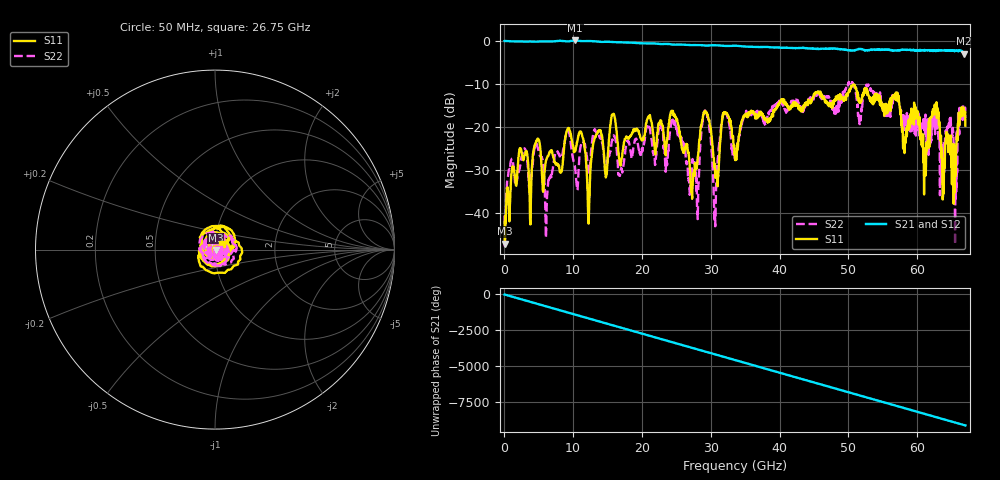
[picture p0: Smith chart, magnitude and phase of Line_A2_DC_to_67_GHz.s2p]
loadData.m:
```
function [freq, Port1Meas, Port2Meas, ThruMeas, LineMeas, OpenMeas] = loadData(folderName)

[freq_DC_to_67_GHz, SOpen_DC_to_67_GHz] = SXPParse(fullfile(folderName, 'Open_DC_to_67_GHz.s2p'));
[freq_67_to_110_GHz, SOpen_67_to_110_GHz] = SXPParse(fullfile(folderName, 'Open_67_to_110_GHz.s2p'));
freq = cat(1, freq_DC_to_67_GHz, freq_67_to_110_GHz);
OpenMeas = cat(3, SOpen_DC_to_67_GHz, SOpen_67_to_110_GHz);

[~, SShort_DC_to_67_GHz] = SXPParse(fullfile(folderName, 'Short_A1_DC_to_67_GHz.s2p'));
[~, SShort_67_to_110_GHz] = SXPParse(fullfile(folderName, 'Short_A2_67_to_110_GHz.s2p'));
ShortMeas = cat(3, SShort_DC_to_67_GHz, SShort_67_to_110_GHz);

[~, SMatch_DC_to_67_GHz] = SXPParse(fullfile(folderName, 'Match_A1_DC_to_67_GHz.s2p'));
[~, SMatch_67_to_110_GHz] = SXPParse(fullfile(folderName, 'Match_A2_67_to_110_GHz.s2p'));
SMatch = cat(3, SMatch_DC_to_67_GHz, SMatch_67_to_110_GHz);

[~, SThruMeas_DC_to_67_GHz] = SXPParse(fullfile(folderName, 'Thru_A1_DC_to_67_GHz.s2p'));
[~, SThruMeas_67_to_110_GHz] = SXPParse(fullfile(folderName, 'Thru_A2_67_to_110_GHz.s2p'));
ThruMeas = cat(3, SThruMeas_DC_to_67_GHz, SThruMeas_67_to_110_GHz);

[~, SLine1Meas_DC_to_67_GHz] = SXPParse(fullfile(folderName, 'Line_A1_DC_to_67_GHz.s2p'));
[~, SLine1Meas_67_to_110_GHz] = SXPParse(fullfile(folderName, 'Line_A1_67_to_110_GHz.s2p'));
SLine1Meas = cat(3, SLine1Meas_DC_to_67_GHz, SLine1Meas_67_to_110_GHz);

[~, SLine2Meas_DC_to_67_GHz] = SXPParse(fullfile(folderName, 'Line_A2_DC_to_67_GHz.s2p'));
[~, SLine2Meas_67_to_110_GHz] = SXPParse(fullfile(folderName, 'Line_A2_67_to_110_GHz.s2p'));
SLine2Meas = cat(3, SLine2Meas_DC_to_67_GHz, SLine2Meas_67_to_110_GHz);

[~, SLine3Meas_DC_to_67_GHz] = SXPParse(fullfile(folderName, 'Line_A3_DC_to_67_GHz.s2p'));
[~, SLine3Meas_67_to_110_GHz] = SXPParse(fullfile(folderName, 'Line_A3_67_to_110_GHz.s2p'));
SLine3Meas = cat(3, SLine3Meas_DC_to_67_GHz, SLine3Meas_67_to_110_GHz);

[~, SLine4Meas_DC_to_67_GHz] = SXPParse(fullfile(folderName, 'Line_A4_DC_to_67_GHz.s2p'));
[~, SLine4Meas_67_to_110_GHz] = SXPParse(fullfile(folderName, 'Line_A4_67_to_110_GHz.s2p'));
SLine4Meas = cat(3, SLine4Meas_DC_to_67_GHz, SLine4Meas_67_to_110_GHz);

[~, SLine5Meas_DC_to_67_GHz] = SXPParse(fullfile(folderName, 'Line_A5_DC_to_67_GHz.s2p'));
[~, SLine5Meas_67_to_110_GHz] = SXPParse(fullfile(folderName, 'Line_A5_67_to_110_GHz.s2p'));
SLine5Meas = cat(3, SLine5Meas_DC_to_67_GHz, SLine5Meas_67_to_110_GHz);

LineMeas = cat(4, SLine1Meas, SLine2Meas, SLine3Meas, SLine4Meas, SLine5Meas);

Port1Meas = struct( ...
    'open', squeeze(OpenMeas(1, 1, :)), ...
    'short', squeeze(ShortMeas(1, 1, :)), ...
    'match', squeeze(SMatch(1, 1, :)) ...
);

Port2Meas = struct( ...
    'open', squeeze(OpenMeas(2, 2, :)), ...
    'short', squeeze(ShortMeas(2, 2, :)), ...
    'match', squeeze(SMatch(2, 2, :)) ...
);


end
```
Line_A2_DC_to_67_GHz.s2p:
#  HZ  S  MA  R  50.00
! Rohde & Schwarz ZVA67 4Ports - Version 4.11 - 1305.7002k04 SN: 101051
! Date: 2023-05-31 11:52:33
! Measurements: S11 S21 S12 S22
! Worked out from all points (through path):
!   1340 points, 50 MHz to 67 GHz, reference 50 ohm
!   highest |S21| = 0.08 dB at 10.3 GHz (marker M1); lowest = -3.0 dB at 66.8 GHz (marker M2)
!   group delay of S21, straight-line fit = 379 ps
!   lowest |S11| = -47.2 dB at 100 MHz (marker M3), VSWR 1.01, Z = 50.4 - j0.238 ohm
!   |S11| at or under -10 dB: start of sweep to end of sweep
!   |S22| runs from -47.8 to -9.6 dB; largest |S21 - S12| = 0.13
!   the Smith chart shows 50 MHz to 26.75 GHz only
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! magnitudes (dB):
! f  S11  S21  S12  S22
! 50 MHz  -42.2  0.0  0.0  -40.7
! 100 MHz  -47.2  0.0  0.0  -47.8
! 2.9 GHz  -26.8  -0.2  -0.2  -25.2
! 10.3 GHz  -25.6  0.1  0.1  -29.7
! 33.55 GHz  -27.8  -1.2  -1.2  -26.8
! 50.3 GHz  -11.1  -2.2  -2.2  -9.7
! 61.2 GHz  -26.3  -2.2  -2.2  -17.2
! 62.8 GHz  -14.3  -2.2  -2.3  -20.1
! 63.8 GHz  -30.9  -2.3  -2.3  -28.1
! 66.8 GHz  -17.1  -3.0  -3.0  -18.0
! 67 GHz  -19.8  -2.8  -2.8  -18.0
